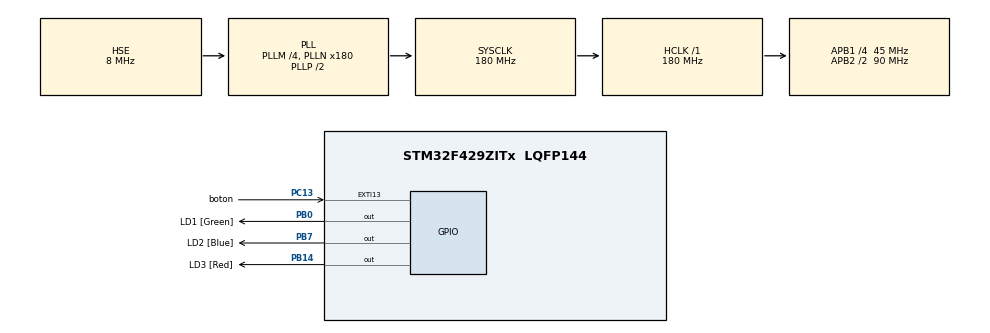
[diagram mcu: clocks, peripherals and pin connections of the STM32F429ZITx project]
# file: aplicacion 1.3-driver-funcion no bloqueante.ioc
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Mcu.Family=STM32F4
Mcu.Name=STM32F429ZITx
Mcu.Package=LQFP144
NVIC.PriorityGroup=NVIC_PRIORITYGROUP_4
PB0.GPIO_Label=LD1 [Green]
PB0.Signal=GPIO_Output
PB14.GPIO_Label=LD3 [Red]
PB14.Signal=GPIO_Output
PB7.GPIO_Label=LD2 [Blue]
PB7.Signal=GPIO_Output
PC13.GPIO_Label=boton
PC13.Signal=GPXTI13
PH0/OSC_IN.GPIO_Label=MCO [STM32F103CBT6_PA8]
PH0/OSC_IN.Mode=HSE-External-Clock-Source
PH0/OSC_IN.Signal=RCC_OSC_IN
PH1/OSC_OUT.Mode=HSE-External-Clock-Source
PH1/OSC_OUT.Signal=RCC_OSC_OUT
ProjectManager.HeapSize=0x200
ProjectManager.StackSize=0x400
ProjectManager.TargetToolchain=STM32CubeIDE
RCC.48MHZClocksFreq_Value=51428571.428571425
RCC.AHBFreq_Value=180000000
RCC.APB1CLKDivider=RCC_HCLK_DIV4
RCC.APB1Freq_Value=45000000
RCC.APB1TimFreq_Value=90000000
RCC.APB2CLKDivider=RCC_HCLK_DIV2
RCC.APB2Freq_Value=90000000
RCC.APB2TimFreq_Value=180000000
RCC.CortexFreq_Value=180000000
RCC.HCLKFreq_Value=180000000
RCC.HSE_VALUE=8000000
RCC.HSI_VALUE=16000000
RCC.PLLM=4
RCC.PLLMUL=RCC_PLL_MUL9
RCC.PLLN=180
RCC.PLLQ=7
RCC.PLLSourceVirtual=RCC_PLLSOURCE_HSE
RCC.PRESCALERUSB=RCC_USBCLKSOURCE_PLL_DIV1_5
RCC.SYSCLKFreq_VALUE=180000000
RCC.SYSCLKSource=RCC_SYSCLKSOURCE_PLLCLK
RCC.SYSCLKSourceVirtual=RCC_SYSCLKSOURCE_PLLCLK
RCC.USBFreq_Value=48000000
RCC.VCOOutputFreq_Value=360000000
board=NUCLEO-F429ZI

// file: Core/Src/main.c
/* USER CODE BEGIN Header */
/**
  ******************************************************************************
  * @file           : main.c
  * @brief          : Main program body
  ******************************************************************************
  * @attention
  *
  * Copyright (c) 2026 STMicroelectronics.
  * All rights reserved.
  *
  * This software is licensed under terms that can be found in the LICENSE file
  * in the root directory of this software component.
  * If no LICENSE file comes with this software, it is provided AS-IS.
  *
  ******************************************************************************
  */
/* USER CODE END Header */
#include "main.h"
#include "string.h"
#include <stdbool.h>
/* USER CODE BEGIN Includes */
#include "API_GPIO.h"
#include "API_Delay.h"
/* USER CODE END Includes */

/* USER CODE BEGIN PTD */
typedef enum {
    ESTADO_LED1_ON,  // LED1 encendido
    ESTADO_LED2_ON,  // LED2 encendido
    ESTADO_LED3_ON   // LED3 encendido
} estadoSecuencia_t;

/* USER CODE END PTD */

/* USER CODE BEGIN PD */
#define LED1 LD1_Pin //led verde
#define LED2 LD2_Pin //led azul
#define LED3 LD3_Pin // led rojo
/* USER CODE END PD */

/* USER CODE BEGIN PV */
led_t LEDS[] = {LED1, LED2, LED3};
estadoSecuencia_t estadoActual = ESTADO_LED1_ON;
delay_t pasoDelay1;
delay_t pasoDelay2;
delay_t pasoDelay3;
delay_t pasoDelay4;
/* USER CODE END PV */

void SystemClock_Config(void);

int main(void)
{

  /* MCU Configuration--------------------------------------------------------*/

  /* Reset of all peripherals, Initializes the Flash interface and the Systick. */
  HAL_Init();

  /* Configure the system clock */
  SystemClock_Config();

  /* Initialize all configured peripherals */
  MX_GPIO_Init();

  /* USER CODE BEGIN 2 */
  delayInit(&pasoDelay4, 100);
  delayInit(&pasoDelay1, 150);
  delayInit(&pasoDelay2, 300);
  delayInit(&pasoDelay3, 600);
  /* USER CODE END 2 */

  /* Infinite loop */
  while (1)
  {

    /* USER CODE BEGIN 3 */
	  Boton_GPIO();

	    switch (estado) {
	        case 0:

	        	if (delayRead(&pasoDelay1)) {

	        			  //-------LEDS APAGADOS------//
	        			  LEDapagado_GPIO(LEDS[0]);
	        			  LEDapagado_GPIO(LEDS[1]);
	        			  LEDapagado_GPIO(LEDS[2]);
	        		      //--------------------------//

	        		      switch (estadoActual) {
	        		          case ESTADO_LED1_ON:
	        		        	  LEDencendido_GPIO(LEDS[0]);
	        		              estadoActual = ESTADO_LED2_ON;
	        		              break;

	        		          case ESTADO_LED2_ON:
	        		        	  LEDencendido_GPIO(LEDS[1]);
	        		              estadoActual = ESTADO_LED3_ON;
	        		              break;

	        		          case ESTADO_LED3_ON:
	        		              LEDencendido_GPIO(LEDS[2]);
	        		              estadoActual = ESTADO_LED1_ON;
	        		              break;
	        		      }
	        		  }

	        break;

	        case 1:

	        	if (delayRead(&pasoDelay2)) {

	        		   toggleLed_GPIO(LEDS[0]);

	        		   toggleLed_GPIO(LEDS[1]);

	        		   toggleLed_GPIO(LEDS[2]);
	        	}
	        break;

	        case 2:

	        	if (delayRead(&pasoDelay4)) {
	        		 toggleLed_GPIO(LEDS[0]);
	            }
	        	if (delayRead(&pasoDelay2)) {
	        		 toggleLed_GPIO(LEDS[1]);
	        	}
	        	if (delayRead(&pasoDelay3)) {
	        		 toggleLed_GPIO(LEDS[2]);
	            }

	        break;

	        case 3:

	        	if (delayRead(&pasoDelay1)) {

	        	   toggleLed_GPIO(LEDS[0]);
	        	   toggleLed_GPIO(LEDS[1]);
	        	   toggleLed_GPIO(LEDS[2]);

	        		        	}
	        break;

	    }

  }
  /* USER CODE END 3 */
}

void SystemClock_Config(void)
{
  RCC_OscInitTypeDef RCC_OscInitStruct = {0};
  RCC_ClkInitTypeDef RCC_ClkInitStruct = {0};

  __HAL_RCC_PWR_CLK_ENABLE();
  __HAL_PWR_VOLTAGESCALING_CONFIG(PWR_REGULATOR_VOLTAGE_SCALE1);

  RCC_OscInitStruct.OscillatorType = RCC_OSCILLATORTYPE_HSE;
  RCC_OscInitStruct.HSEState = RCC_HSE_ON;
  RCC_OscInitStruct.PLL.PLLState = RCC_PLL_ON;
  RCC_OscInitStruct.PLL.PLLSource = RCC_PLLSOURCE_HSE;
  RCC_OscInitStruct.PLL.PLLM = 4;
  RCC_OscInitStruct.PLL.PLLN = 180;
  RCC_OscInitStruct.PLL.PLLP = RCC_PLLP_DIV2;
  RCC_OscInitStruct.PLL.PLLQ = 7;
  if (HAL_RCC_OscConfig(&RCC_OscInitStruct) != HAL_OK)
  {
    Error_Handler();
  }

  if (HAL_PWREx_EnableOverDrive() != HAL_OK)
  {
    Error_Handler();
  }

  RCC_ClkInitStruct.ClockType = RCC_CLOCKTYPE_HCLK|RCC_CLOCKTYPE_SYSCLK
                              |RCC_CLOCKTYPE_PCLK1|RCC_CLOCKTYPE_PCLK2;
  RCC_ClkInitStruct.SYSCLKSource = RCC_SYSCLKSOURCE_PLLCLK;
  RCC_ClkInitStruct.AHBCLKDivider = RCC_SYSCLK_DIV1;
  RCC_ClkInitStruct.APB1CLKDivider = RCC_HCLK_DIV4;
  RCC_ClkInitStruct.APB2CLKDivider = RCC_HCLK_DIV2;

  if (HAL_RCC_ClockConfig(&RCC_ClkInitStruct, FLASH_LATENCY_5) != HAL_OK)
  {
    Error_Handler();
  }
}

void Error_Handler(void)
{
  __disable_irq();
  while (1)
  {
  }
}
